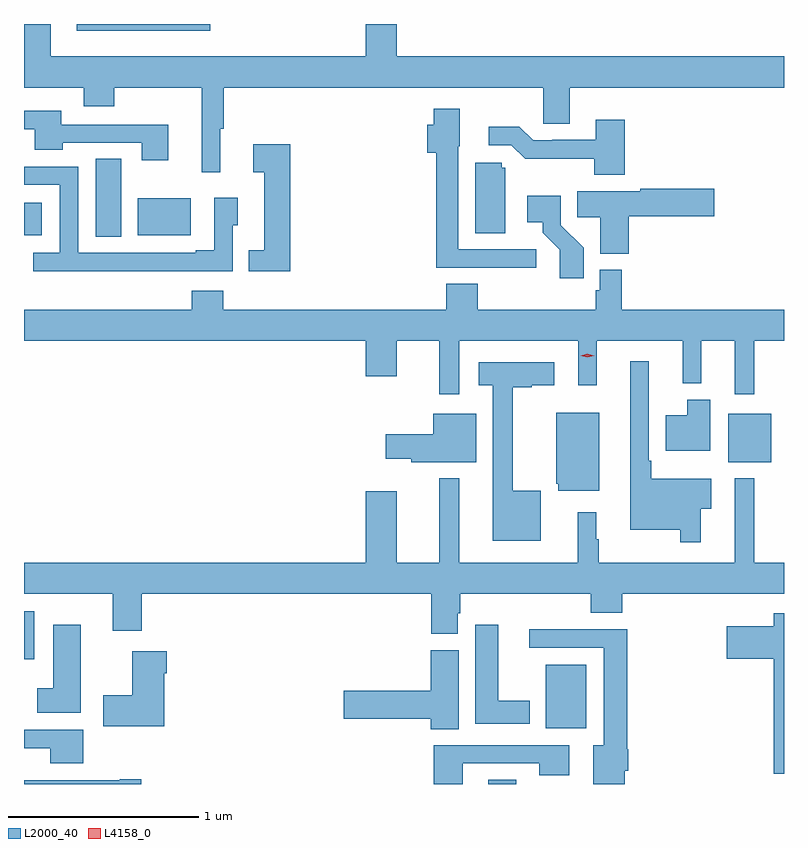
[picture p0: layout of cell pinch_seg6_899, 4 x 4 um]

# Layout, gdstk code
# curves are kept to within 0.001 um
import gdstk
lib = gdstk.Library(unit=1e-6, precision=1e-09)
def R(c, l, rs):  # rectangles x0, y0, x1, y1
    for r in rs: c.add(gdstk.rectangle(r[:2], r[2:], *l))
def P(c, l, *ps):  # polygons
    for p in ps: c.add(gdstk.Polygon(p, *l))
L2000_40 = (2000, 40)
L4158_0 = (4158, 0)

pinch_seg6_899 = lib.new_cell('pinch_seg6_899')
R(pinch_seg6_899, L2000_40, [(333.485,926.355,333.633,926.378), (333.788,926.648,334,926.983), (331.041,927.011,331.096,927.265), (334.748,928.049,334.975,928.303), (331.418,929.236,331.552,929.645), (331.041,929.243,331.135,929.413), (331.64,929.243,331.918,929.437), (331.319,930.32,332.02,930.355)])
P(pinch_seg6_899, L2000_40, [(331.183,930.355),(331.043,930.355),(331.043,930.184),(331.041,930.184),(331.041,930.02),(331.355,930.02),(331.355,929.921),(331.515,929.921),(331.515,930.02),(331.976,930.02),(331.976,929.574),(332.074,929.574),(332.074,929.805),(332.093,929.805),(332.093,930.02),(333.774,930.02),(333.774,929.83),(333.913,929.83),(333.913,930.02),(335.041,930.02),(335.041,930.184),(333.004,930.184),(333.004,930.355),(332.84,930.355),(332.84,930.184),(331.183,930.184)],
  [(333.736,929.169),(333.327,929.169),(333.327,929.712),(333.334,929.712),(333.334,929.908),(333.198,929.908),(333.198,929.826),(333.164,929.826),(333.164,929.678),(333.211,929.678),(333.211,929.073),(333.511,929.073),(333.511,929.071),(333.736,929.071)],
  [(331.801,929.826),(331.237,929.826),(331.237,929.898),(331.041,929.898),(331.041,929.802),(331.097,929.802),(331.097,929.693),(331.245,929.693),(331.245,929.73),(331.661,929.73),(331.661,929.637),(331.801,929.637)],
  [(334.202,929.851),(334.049,929.851),(334.049,929.745),(333.82,929.745),(333.82,929.742),(333.72,929.742),(333.647,929.815),(333.486,929.815),(333.486,929.718),(333.606,929.718),(333.679,929.645),(334.042,929.646),(334.042,929.561),(334.202,929.561)],
  [(332.441,929.722),(332.247,929.722),(332.247,929.575),(332.306,929.575),(332.306,929.164),(332.224,929.164),(332.224,929.054),(332.441,929.054)],
  [(333.574,929.598),(333.555,929.598),(333.555,929.625),(333.416,929.625),(333.416,929.254),(333.574,929.254)],
  [(331.841,929.055),(332.139,929.055),(332.139,929.295),(332.167,929.295),(332.167,929.44),(332.043,929.44),(332.043,929.164),(331.946,929.164),(331.946,929.151),(331.326,929.151),(331.326,929.604),(331.041,929.604),(331.041,929.508),(331.23,929.508),(331.23,929.151),(331.089,929.151),(331.089,929.054),(331.841,929.054)],
  [(334.223,929.342),(334.675,929.342),(334.675,929.489),(334.285,929.489),(334.285,929.476),(333.952,929.476),(333.952,929.338),(334.073,929.338),(334.073,929.147),(334.223,929.147)],
  [(333.986,929.178),(333.867,929.297),(333.867,929.452),(333.69,929.452),(333.69,929.312),(333.77,929.312),(333.77,929.257),(333.861,929.167),(333.861,929.016),(333.986,929.016)],
  [(333.331,928.688),(333.957,928.688),(333.957,928.455),(334.055,928.455),(334.055,928.688),(334.508,928.688),(334.508,928.463),(334.606,928.463),(334.606,928.688),(334.781,928.688),(334.781,928.407),(334.885,928.407),(334.885,928.688),(335.041,928.688),(335.041,928.852),(334.187,928.852),(334.187,929.062),(334.071,929.062),(334.071,928.953),(334.051,928.953),(334.051,928.852),(333.428,928.852),(333.428,928.988),(333.263,928.988),(333.263,928.852),(332.09,928.852),(332.09,928.951),(331.925,928.951),(331.925,928.852),(331.041,928.852),(331.041,928.688),(332.84,928.688),(332.84,928.5),(333.004,928.5),(333.004,928.688),(333.227,928.688),(333.227,928.407),(333.331,928.407)],
  [(334.603,927.803),(334.657,927.803),(334.657,927.961),(334.342,927.961),(334.342,928.057),(334.329,928.057),(334.329,928.579),(334.232,928.579),(334.232,927.692),(334.494,927.692),(334.494,927.627),(334.603,927.627)],
  [(333.76,927.898),(333.613,927.898),(333.613,928.442),(333.714,928.442),(333.714,928.454),(333.832,928.454),(333.832,928.576),(333.435,928.576),(333.435,928.454),(333.509,928.454),(333.509,927.635),(333.76,927.635)],
  [(334.654,928.378),(334.532,928.378),(334.532,928.297),(334.418,928.297),(334.418,928.109),(334.654,928.109)],
  [(334.069,928.309),(333.842,928.309),(333.842,927.936),(333.854,927.936),(333.854,927.899),(334.069,927.899)],
  [(333.421,928.303),(333.194,928.303),(333.194,928.197),(332.946,928.197),(332.946,928.067),(333.078,928.067),(333.078,928.049),(333.421,928.049)],
  [(333.325,927.255),(333.338,927.255),(333.338,927.356),(334.025,927.356),(334.025,927.257),(334.19,927.257),(334.19,927.356),(335.041,927.356),(335.041,927.52),(334.885,927.52),(334.885,927.964),(334.781,927.964),(334.781,927.52),(334.066,927.52),(334.066,927.644),(334.054,927.644),(334.054,927.784),(333.956,927.784),(333.956,927.52),(333.331,927.52),(333.331,927.964),(333.227,927.964),(333.227,927.52),(333.004,927.52),(333.004,927.895),(332.84,927.895),(332.84,927.52),(331.041,927.52),(331.041,927.356),(331.508,927.356),(331.508,927.162),(331.661,927.162),(331.661,927.356),(333.185,927.356),(333.185,927.145),(333.325,927.145)],
  [(335.041,927.253),(334.987,927.253),(334.987,927.184),(334.74,927.184),(334.74,927.014),(334.987,927.014),(334.987,926.409),(335.041,926.409)],
  [(331.339,927.193),(331.196,927.193),(331.196,926.86),(331.112,926.86),(331.112,926.729),(331.339,926.729)],
  [(333.703,926.794),(333.538,926.794),(333.538,927.193),(333.416,927.193),(333.416,926.672),(333.703,926.672)],
  [(334.204,926.424),(334.222,926.424),(334.222,926.538),(334.217,926.538),(334.217,927.17),(333.699,927.17),(333.699,927.072),(334.091,927.072),(334.091,926.56),(334.037,926.56),(334.037,926.355),(334.204,926.355)],
  [(333.328,927.06),(333.182,927.06),(333.182,926.846),(332.724,926.846),(332.724,926.699),(333.182,926.699),(333.182,926.644),(333.328,926.644)],
  [(331.778,926.937),(331.793,926.937),(331.793,927.055),(331.61,927.055),(331.61,926.823),(331.458,926.823),(331.458,926.66),(331.778,926.66)],
  [(331.354,926.64),(331.041,926.64),(331.041,926.544),(331.178,926.544),(331.178,926.465),(331.354,926.465)],
  [(333.349,926.463),(333.754,926.463),(333.754,926.4),(333.91,926.4),(333.91,926.559),(333.197,926.559),(333.197,926.355),(333.349,926.355)],
  [(331.657,926.381),(331.544,926.381),(331.544,926.376),(331.041,926.376),(331.041,926.355),(331.657,926.355)])
P(pinch_seg6_899, L4158_0, [(334.005,928.6),(333.97,928.61),(333.969,928.61),(333.97,928.61),(334.005,928.62),(334.041,928.61),(334.041,928.61),(334.041,928.609)])

lib.write_gds('pinch_seg6_899.gds')
